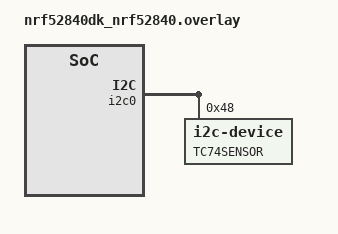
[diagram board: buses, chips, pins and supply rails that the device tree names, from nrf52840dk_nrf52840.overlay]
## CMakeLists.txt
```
# SPDX-License-Identifier: Apache-2.0

cmake_minimum_required(VERSION 3.20.0)
find_package(Zephyr REQUIRED HINTS $ENV{ZEPHYR_BASE})
project(I2CDemo)

target_sources(app PRIVATE src/main.c)
```

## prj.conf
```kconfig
CONFIG_UART_CONSOLE=y
CONFIG_PRINTK=y
CONFIG_I2C=y
```

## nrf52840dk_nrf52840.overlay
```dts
// To get started, press Ctrl+Space to bring up the completion menu and view the available nodes.

// You can also use the buttons in the sidebar to perform actions on nodes.
// Actions currently available include:

// * Enabling / disabling the node
// * Adding the bus to a bus
// * Removing the node
// * Connecting ADC channels

// For more help, browse the DeviceTree documentation at https://docs.zephyrproject.org/latest/guides/dts/index.html
// You can also visit the nRF DeviceTree extension documentation at https://nrfconnect.github.io/vscode-nrf-connect/devicetree/nrfdevicetree.html
&i2c0 {
    tc74sensor: tc74sensor@48{
        compatible = "i2c-device";
        reg = < 0x48 >;
        label = "TC74SENSOR";
    };
};
```

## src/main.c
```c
/*
 * Paulo Pedreiras, 2024/02
 * 
 * Shows the use of the I2C interface
 *      Interfaces with a TC74A0-3.3VAT I2C temperature sensor
 *      Operation:
 *          TC74 sensors have diverse factory-set addresses. Check the right address!!
 *          Operation is very simple: 
 *              - At first write the command Read TempeRature (RTR). This operation is 
 *                      necessary only if previously a write to config reg is done
 *              - Then read the device as many times as you want with a simple I2C read 
 *
 * See:
 *      https://github.com/NordicDeveloperAcademy/ncs-fund
 *      https://developer.nordicsemi.com/nRF_Connect_SDK/doc/latest/zephyr/hardware/peripherals/i2c.html#i2c     
 * 
 *
 * Configurations/prj.conf:
 *      To enable the I2C module
 *          CONFIG_I2C=y
 *      Note that the address of the TC74 must be set via overlay file
 * 
 * PINS -  get info from devicetree (Actions tab or Config files):
 *      SDA P0.26
 *      SDA P0.27
 */

#include <zephyr/sys/printk.h>
#include <zephyr/drivers/i2c.h> /* Required for  I2C */

#define ERR_FATAL -1   /* If I2C fails ...*/

/* TC74 sensor-related defines */
    /* Address is set via overlay */
    /* CHECK THE SENSOR DATASHEET as sensors ship with DIFFERENT ADDRESSES */
    /* Do not forget to make sure that this address in set on the overlay file      */ 
    /*      as the sensor address is obtained from the DT */
#define TC74_CMD_RTR 0x00   /* Read temperature command */
#define TC74_CMD_RWCR 0x01  /* Read/write configuration register */

/* I2C device vars and defines */
#define I2C0_NID DT_NODELABEL(tc74sensor)
static const struct i2c_dt_spec dev_i2c = I2C_DT_SPEC_GET(I2C0_NID);

/* Other defines*/
#define UPDATE_PERIOD_MS 100 /* Time between temperature readings */

/* 
 * Main() function
 */
int main(void)
{
    int ret=0; /* General return variable */   
    uint8_t temp=0; /* Temperature value (raw read from sensor)*/

    printk("I2C demo - reads the temperature of a TC74 temperature sensor connected to I2C0\n\r");

    if (!device_is_ready(dev_i2c.bus)) {
	    printk("I2C bus %s is not ready!\n\r",dev_i2c.bus->name);
	    return ERR_FATAL;
    } else {
        printk("I2C bus %s, device address %x ready\n\r",dev_i2c.bus->name, dev_i2c.addr);
    }    
    
    /* Write (command RTR) to set the read address to temperature */
    /* Only necessary if a config done before (not the case), but let's stay in the safe side */
    ret = i2c_write_dt(&dev_i2c, TC74_CMD_RTR, 1);
    if(ret != 0){
        printk("Failed to write to I2C device at address %x, register %x \n\r", dev_i2c.addr ,TC74_CMD_RTR);
    }
    while(1) {
        /* Read temperature register */       
        ret = i2c_read_dt(&dev_i2c, &temp, sizeof(temp));
        if(ret != 0){
	        printk("Failed to read from I2C device at address %x, register  at Reg. %x \n\r", dev_i2c.addr,TC74_CMD_RTR);      
        }

        printk("Last temperature reading is %d \n\r",temp);

        /* Pause  */ 
        k_msleep(UPDATE_PERIOD_MS);    
    }
 
}
```
